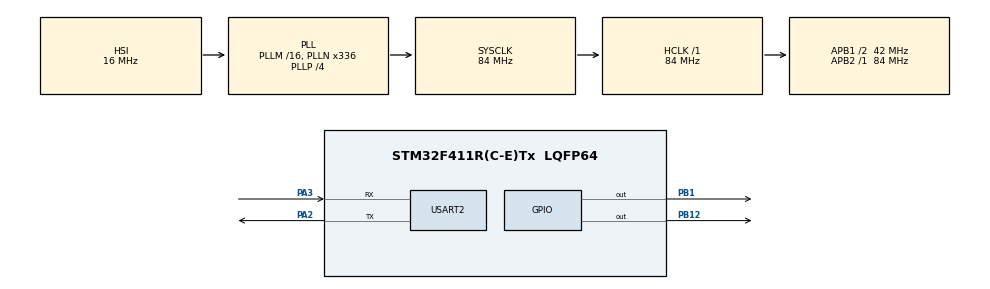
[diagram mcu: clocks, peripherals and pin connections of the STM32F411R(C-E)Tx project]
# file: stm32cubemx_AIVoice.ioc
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Mcu.Family=STM32F4
Mcu.Name=STM32F411R(C-E)Tx
Mcu.Package=LQFP64
NVIC.PriorityGroup=NVIC_PRIORITYGROUP_0
NVIC.USART2_IRQn=true\:0\:0\:false\:false\:true\:true\:true\:true
PA13.GPIO_Label=TMS
PA13.Mode=Serial_Wire
PA13.Signal=SYS_JTMS-SWDIO
PA14.GPIO_Label=TCK
PA14.Mode=Serial_Wire
PA14.Signal=SYS_JTCK-SWCLK
PA2.Mode=Asynchronous
PA2.Signal=USART2_TX
PA3.Mode=Asynchronous
PA3.Signal=USART2_RX
PB1.GPIO_PuPd=GPIO_PULLUP
PB1.GPIO_Speed=GPIO_SPEED_FREQ_HIGH
PB1.Signal=GPIO_Output
PB12.GPIO_PuPd=GPIO_PULLUP
PB12.GPIO_Speed=GPIO_SPEED_FREQ_HIGH
PB12.Signal=GPIO_Output
ProjectManager.HeapSize=0x200
ProjectManager.StackSize=0x400
ProjectManager.TargetToolchain=MDK-ARM V5.32
RCC.48MHZClocksFreq_Value=84000000
RCC.AHBFreq_Value=84000000
RCC.APB1CLKDivider=RCC_HCLK_DIV2
RCC.APB1Freq_Value=42000000
RCC.APB1TimFreq_Value=84000000
RCC.APB2Freq_Value=84000000
RCC.APB2TimFreq_Value=84000000
RCC.CortexFreq_Value=84000000
RCC.FLatency-AdvancedSettings=FLASH_LATENCY_2
RCC.HCLKFreq_Value=84000000
RCC.HSE_VALUE=8000000
RCC.HSI_VALUE=16000000
RCC.LSE_VALUE=32768
RCC.PLLN=336
RCC.PLLP=RCC_PLLP_DIV4
RCC.SYSCLKFreq_VALUE=84000000
RCC.SYSCLKSource=RCC_SYSCLKSOURCE_PLLCLK
RCC.VCOOutputFreq_Value=336000000
USART2.VirtualMode=VM_ASYNC
board=NUCLEO-F411RE

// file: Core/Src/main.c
/* USER CODE BEGIN Header */
/**
  ******************************************************************************
  * @file           : main.c
  * @brief          : Main program body
  ******************************************************************************
  * @attention
  *
  * Copyright (c) 2023 STMicroelectronics.
  * All rights reserved.
  *
  * This software is licensed under terms that can be found in the LICENSE file
  * in the root directory of this software component.
  * If no LICENSE file comes with this software, it is provided AS-IS.
  *
  ******************************************************************************
  */
/* USER CODE END Header */
#include "main.h"

/* USER CODE BEGIN Includes */
#include <stdio.h>
#include <string.h>
#include "I2C.h"
/* USER CODE END Includes */

UART_HandleTypeDef huart2;

void SystemClock_Config(void);
static void MX_GPIO_Init(void);
static void MX_USART2_UART_Init(void);
/* USER CODE BEGIN PFP */

//redirect printf to UART2
int fputc(int ch, FILE* f);
/* USER CODE END PFP */

/* USER CODE BEGIN 0 */
////hiwonder 语音模块例程
///*
// * 只能识别汉字，将要识别的汉字转换成拼音字母，每个汉字之间空格隔开，比如：幻尔科技 --> huan er ke ji
// * 最多添加50个词条，每个词条最长为79个字符，每个词条最多10个汉字
// * 每个词条都对应一个识别号（1~255随意设置）不同的语音词条可以对应同一个识别号，
// * 比如“幻尔科技”和“幻尔”都可以将识别号设置为同一个值
// * 模块上的STA状态灯：亮起表示正在识别语音，灭掉表示不会识别语音，当识别到语音时状态灯会变暗，或闪烁，等待读取后会恢复当前的状态指示
// */
//
const char TEXT1_Buffer[]={"ni hao"};
const char TEXT2_Buffer[]={"dian deng"};
const char TEXT3_Buffer[]={"kai deng"};
const char TEXT4_Buffer[]={"fa guang"};
const char TEXT5_Buffer[]={"xi dian"};

/* USER CODE END 0 */

int main(void)
{
  /* USER CODE BEGIN 1 */
	//uint8_t buffer;
  /* USER CODE END 1 */

  /* MCU Configuration--------------------------------------------------------*/

  /* Reset of all peripherals, Initializes the Flash interface and the Systick. */
  HAL_Init();

  /* Configure the system clock */
  SystemClock_Config();

  /* USER CODE BEGIN SysInit */
  HAL_Delay_us_init(84);
  /* USER CODE END SysInit */

  /* Initialize all configured peripherals */
  MX_GPIO_Init();
  MX_USART2_UART_Init();
  /* USER CODE BEGIN 2 */

	HAL_Delay(200);

//

  /* USER CODE END 2 */

  /* Infinite loop */
  /* USER CODE BEGIN WHILE */
	if (0) //添加的词条和识别模式是可以掉电保存的，第一次设置完成后，可以将此段注释掉，即将1改为0，然后重新下载一次程序
	{
		AsrErase(); //擦除
	  HAL_Delay(60);

		//1：循环识别模式。状态灯常亮（默认模式）
		//2：口令模式，以第一个词条为口令。状态灯常灭，当识别到口令词时常亮，等待识别到新的语音,并且读取识别结果后即灭掉
		//3：按键模式，按下开始识别，不按不识别。支持掉电保存。状态灯随按键按下而亮起，不按不亮

		AsrAddWords(1, (uint8_t*)TEXT1_Buffer, strlen(TEXT1_Buffer));
		HAL_Delay(60);
		AsrAddWords(2, (uint8_t*)TEXT2_Buffer, strlen(TEXT2_Buffer));
		HAL_Delay(60);
		AsrAddWords(3, (uint8_t*)TEXT3_Buffer, strlen(TEXT3_Buffer));
		HAL_Delay(60);
		AsrAddWords(4, (uint8_t*)TEXT4_Buffer, strlen(TEXT4_Buffer));
		HAL_Delay(60);
		AsrAddWords(5, (uint8_t*)TEXT5_Buffer, strlen(TEXT5_Buffer));
		HAL_Delay(60);
		AsrSetMode(3); //设置模式
		HAL_Delay(60);
		printf("Asr_Result111111:  \r\n");
	}
	//printf("Asr_Result:  \r\n");
	while (1)
	{
		uint8_t result=0;
		result = Asr_Result(); //返回识别结果，即识别到的词条编号
		if (result)
		{
			printf("Asr_Result: %d \r\n",result);
		}
		HAL_Delay(500);

    /* USER CODE END WHILE */

  }
}

void SystemClock_Config(void)
{
  RCC_OscInitTypeDef RCC_OscInitStruct = {0};
  RCC_ClkInitTypeDef RCC_ClkInitStruct = {0};

  /** Configure the main internal regulator output voltage
  */
  __HAL_RCC_PWR_CLK_ENABLE();
  __HAL_PWR_VOLTAGESCALING_CONFIG(PWR_REGULATOR_VOLTAGE_SCALE1);

  /** Initializes the RCC Oscillators according to the specified parameters
  * in the RCC_OscInitTypeDef structure.
  */
  RCC_OscInitStruct.OscillatorType = RCC_OSCILLATORTYPE_HSI;
  RCC_OscInitStruct.HSIState = RCC_HSI_ON;
  RCC_OscInitStruct.HSICalibrationValue = RCC_HSICALIBRATION_DEFAULT;
  RCC_OscInitStruct.PLL.PLLState = RCC_PLL_ON;
  RCC_OscInitStruct.PLL.PLLSource = RCC_PLLSOURCE_HSI;
  RCC_OscInitStruct.PLL.PLLM = 16;
  RCC_OscInitStruct.PLL.PLLN = 336;
  RCC_OscInitStruct.PLL.PLLP = RCC_PLLP_DIV4;
  RCC_OscInitStruct.PLL.PLLQ = 4;
  if (HAL_RCC_OscConfig(&RCC_OscInitStruct) != HAL_OK)
  {
    Error_Handler();
  }

  /** Initializes the CPU, AHB and APB buses clocks
  */
  RCC_ClkInitStruct.ClockType = RCC_CLOCKTYPE_HCLK|RCC_CLOCKTYPE_SYSCLK
                              |RCC_CLOCKTYPE_PCLK1|RCC_CLOCKTYPE_PCLK2;
  RCC_ClkInitStruct.SYSCLKSource = RCC_SYSCLKSOURCE_PLLCLK;
  RCC_ClkInitStruct.AHBCLKDivider = RCC_SYSCLK_DIV1;
  RCC_ClkInitStruct.APB1CLKDivider = RCC_HCLK_DIV2;
  RCC_ClkInitStruct.APB2CLKDivider = RCC_HCLK_DIV1;

  if (HAL_RCC_ClockConfig(&RCC_ClkInitStruct, FLASH_LATENCY_2) != HAL_OK)
  {
    Error_Handler();
  }
}

static void MX_USART2_UART_Init(void)
{

  huart2.Instance = USART2;
  huart2.Init.BaudRate = 115200;
  huart2.Init.WordLength = UART_WORDLENGTH_8B;
  huart2.Init.StopBits = UART_STOPBITS_1;
  huart2.Init.Parity = UART_PARITY_NONE;
  huart2.Init.Mode = UART_MODE_TX_RX;
  huart2.Init.HwFlowCtl = UART_HWCONTROL_NONE;
  huart2.Init.OverSampling = UART_OVERSAMPLING_16;
  if (HAL_UART_Init(&huart2) != HAL_OK)
  {
    Error_Handler();
  }

}

static void MX_GPIO_Init(void)
{
  GPIO_InitTypeDef GPIO_InitStruct = {0};

  /* GPIO Ports Clock Enable */
  __HAL_RCC_GPIOA_CLK_ENABLE();
  __HAL_RCC_GPIOB_CLK_ENABLE();

  /*Configure GPIO pin Output Level */
  HAL_GPIO_WritePin(GPIOB, GPIO_PIN_1|GPIO_PIN_12, GPIO_PIN_RESET);

  /*Configure GPIO pins : PB1 PB12 */
  GPIO_InitStruct.Pin = GPIO_PIN_1|GPIO_PIN_12;
  GPIO_InitStruct.Mode = GPIO_MODE_OUTPUT_PP;
  GPIO_InitStruct.Pull = GPIO_PULLUP;
  GPIO_InitStruct.Speed = GPIO_SPEED_FREQ_HIGH;
  HAL_GPIO_Init(GPIOB, &GPIO_InitStruct);

}

/* USER CODE BEGIN 4 */

/**
  * @brief Redirect fpuc Function to UART2
  * @param  ch:  Data to be send
  * @param  f: Not used
  * @retval None
  */
int fputc(int ch, FILE* f)
{
	//HAL库形式
	//HAL_UART_Transmit(&huart2,(uint8_t*)&ch,1,0xffff);
	//UART register begin
	while( (huart2.Instance->SR & 0x40) == 0 );
	huart2.Instance->DR = ch;
	//UART register end
	return ch;
}
/* USER CODE END 4 */

void Error_Handler(void)
{
  __disable_irq();
  while (1)
  {
  }
}
